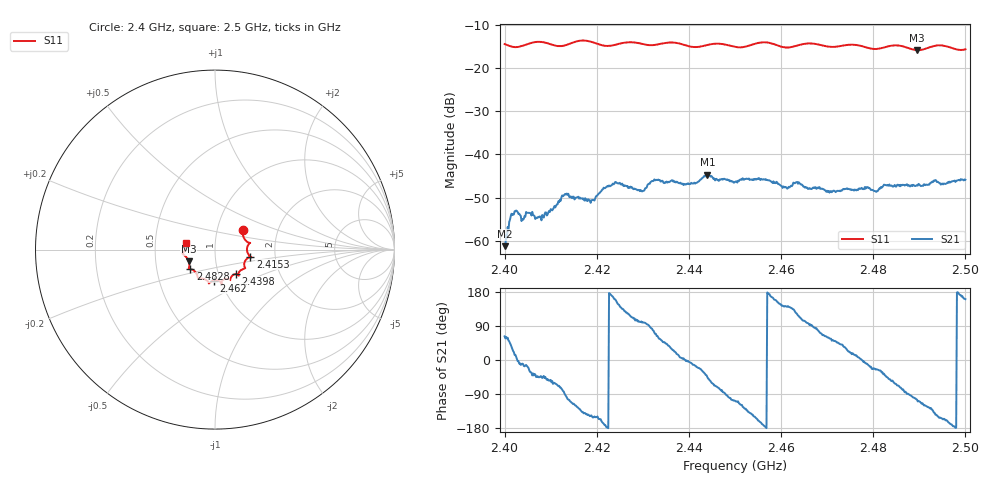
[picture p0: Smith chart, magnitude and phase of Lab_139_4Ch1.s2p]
# Hz S RI R 50
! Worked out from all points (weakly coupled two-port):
!   601 points, 2.4 GHz to 2.5 GHz, reference 50 ohm
!   highest |S21| = -44.72 dB at 2.444 GHz (marker M1); lowest = -61.2 dB at 2.4 GHz (marker M2)
!   lowest |S11| = -15.9 dB at 2.4895 GHz (marker M3), VSWR 1.38, Z = 37 - j4.99 ohm
!   |S11| at or under -10 dB: start of sweep to end of sweep
!   S12 and S22 are empty: the file has one direction only
!   S11 on the Smith chart (normalised r, x): 2.4 GHz: 1.33, +0.29; 2.4153 GHz: 1.48, -0.12; 2.4398 GHz: 1.21, -0.34; 2.462 GHz: 0.93, -0.33; 2.4828 GHz: 0.74, -0.17; 2.5 GHz: 0.72, +0.06
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2.4e9  0.1553 0.1066  0.000403 0.00077  0 0  0 0
2.401167e9  0.1551 0.0882  0.00125 0.00124  0 0  0 0
2.402e9  0.1575 0.0739  0.00189 0.000718  0 0  0 0
2.408e9  0.1957 0.0376  0.00125 -0.00119  0 0  0 0
2.413e9  0.1807 -0.0144  7.69e-05 -0.00342  0 0  0 0
2.415333e9  0.1964 -0.0388  -0.00156 -0.00269  0 0  0 0
2.416667e9  0.2025 -0.0428  -0.00219 -0.00219  0 0  0 0
2.419167e9  0.1928 -0.0423  -0.00262 -0.00141  0 0  0 0
2.424e9  0.1628 -0.0873  -0.0045 0.00164  0 0  0 0
2.429833e9  0.155 -0.1088  -0.000578 0.00369  0 0  0 0
2.433333e9  0.1308 -0.1339  0.00257 0.00442  0 0  0 0
2.439833e9  0.1154 -0.1361  0.00463 -0.000208  0 0  0 0
2.444e9  0.0854 -0.163  0.00409 -0.00413  0 0  0 0
2.45e9  0.0652 -0.1623  -0.00145 -0.00459  0 0  0 0
2.455333e9  0.0365 -0.192  -0.00498 -0.00155  0 0  0 0
2.462e9  -0.00507 -0.1727  -0.00319 0.00281  0 0  0 0
2.466667e9  -0.0343 -0.1882  -0.000124 0.00398  0 0  0 0
2.4805e9  -0.1143 -0.1192  0.00338 -0.00158  0 0  0 0
2.482833e9  -0.1366 -0.1093  0.00316 -0.00307  0 0  0 0
2.483333e9  -0.1404 -0.1089  0.00281 -0.00331  0 0  0 0
2.4895e9  -0.1459 -0.0658  -0.00111 -0.00428  0 0  0 0
2.5e9  -0.1592 0.0389  -0.0048 0.0017  0 0  0 0
